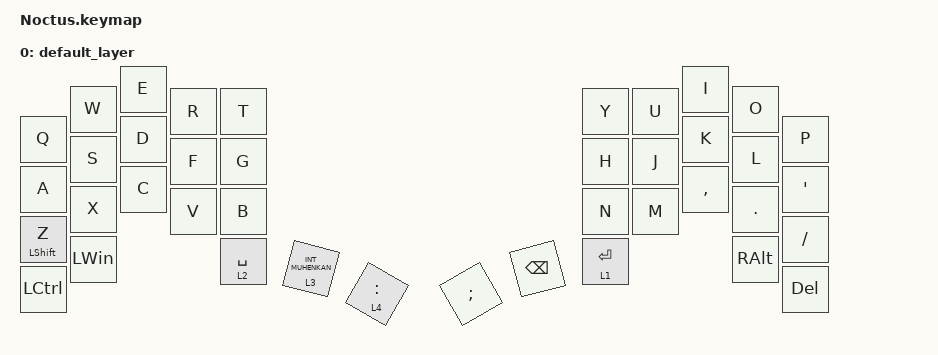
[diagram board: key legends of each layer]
#include <behaviors.dtsi>
#include <dt-bindings/zmk/bt.h>
#include <dt-bindings/zmk/keys.h>
#include <dt-bindings/zmk/pointing.h>

/ {
      keymap {
        compatible = "zmk,keymap";
        default_layer {
            bindings = <
&kp Q             &kp W         &kp E         &kp R             &kp T                                                                      &kp Y          &kp U  &kp I      &kp O         &kp P
&kp A             &kp S         &kp D         &kp F             &kp G                                                                      &kp H          &kp J  &kp K      &kp L         &kp SQT
&mt LEFT_SHIFT Z  &kp X         &kp C         &kp V             &kp B                                                                      &kp N          &kp M  &kp COMMA  &kp DOT       &kp SLASH
&kp LCTRL         &kp LEFT_WIN                                  &lt 2 SPACE  &lt 3 INT_MUHENKAN &lt 4 COLON   &kp SEMICOLON &kp BACKSPACE  &lt 1 ENTER                      &kp RIGHT_ALT &kp DEL
            >;
        };
    };
};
